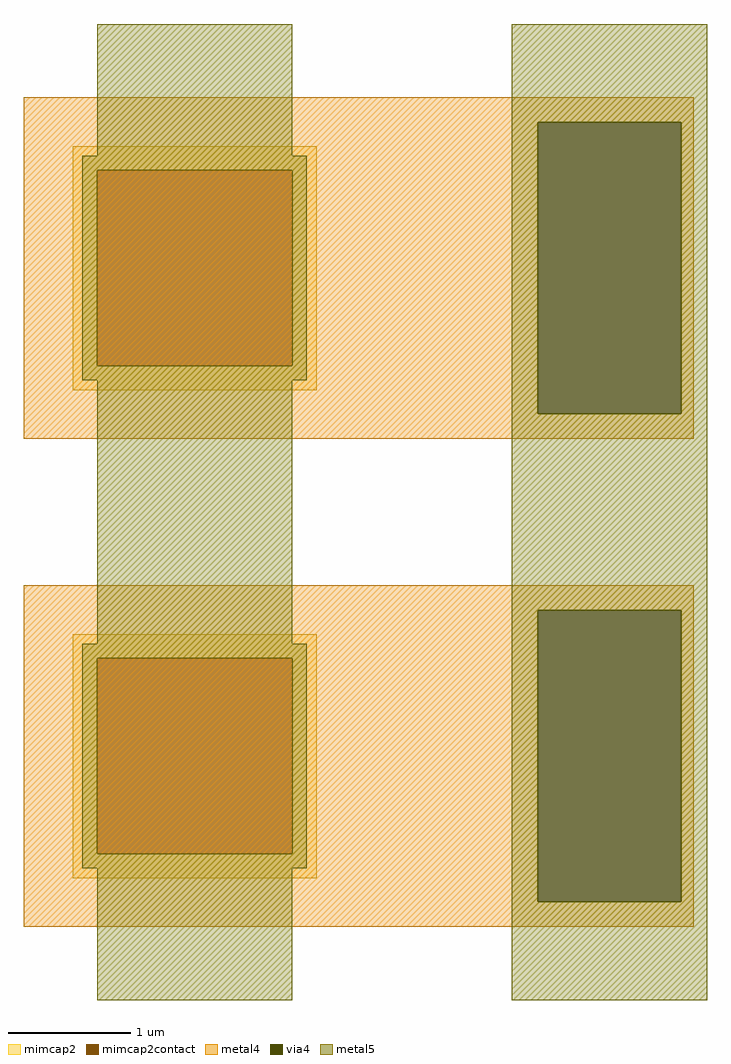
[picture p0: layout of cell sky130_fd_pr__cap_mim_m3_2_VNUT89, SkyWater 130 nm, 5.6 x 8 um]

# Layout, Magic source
magic
tech sky130A
magscale 1 2
<< metal4 >>
rect -549 639 549 680
rect -549 161 293 639
rect 529 161 549 639
rect -549 120 549 161
rect -549 -161 549 -120
rect -549 -639 293 -161
rect 529 -639 549 -161
rect -549 -680 549 -639
<< via4 >>
rect 293 161 529 639
rect 293 -639 529 -161
<< mimcap2 >>
rect -469 560 -69 600
rect -469 240 -429 560
rect -109 240 -69 560
rect -469 200 -69 240
rect -469 -240 -69 -200
rect -469 -560 -429 -240
rect -109 -560 -69 -240
rect -469 -600 -69 -560
<< mimcap2contact >>
rect -429 240 -109 560
rect -429 -560 -109 -240
<< metal5 >>
rect -429 584 -109 800
rect 251 639 571 800
rect -453 560 -85 584
rect -453 240 -429 560
rect -109 240 -85 560
rect -453 216 -85 240
rect -429 -216 -109 216
rect 251 161 293 639
rect 529 161 571 639
rect 251 -161 571 161
rect -453 -240 -85 -216
rect -453 -560 -429 -240
rect -109 -560 -85 -240
rect -453 -584 -85 -560
rect -429 -800 -109 -584
rect 251 -639 293 -161
rect 529 -639 571 -161
rect 251 -800 571 -639
<< properties >>
string FIXED_BBOX -549 120 11 680
string gencell sky130_fd_pr__cap_mim_m3_2
string library sky130
string parameters w 2.0 l 2.0 val 9.52 carea 2.00 cperi 0.19 nx 1 ny 2 dummy 0 square 0 lmin 2.00 wmin 2.00 lmax 30.0 wmax 30.0 dc 0 bconnect 1 tconnect 1 ccov 100
<< end >>
